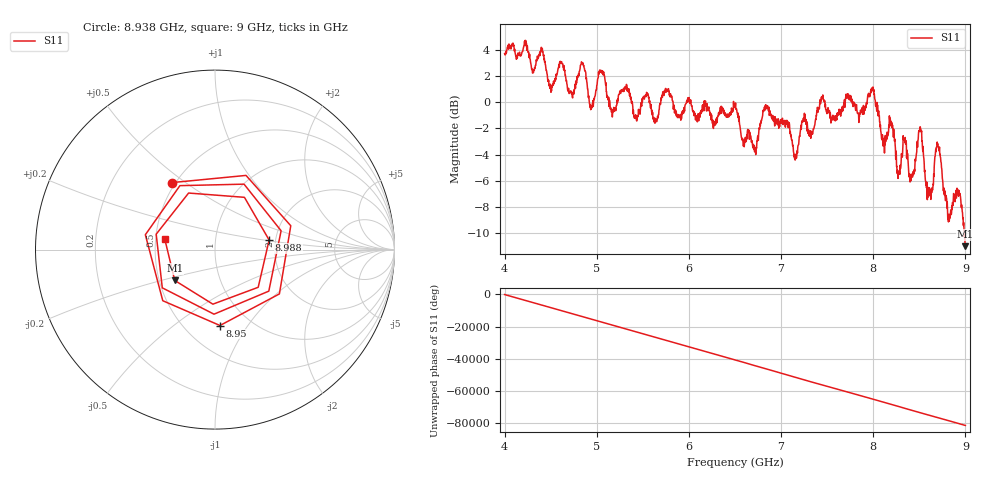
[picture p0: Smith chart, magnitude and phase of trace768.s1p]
! Created with skrf 1.8.0 (http://scikit-rf.org).
# Hz S RI R 50.0
!freq ReS11 ImS11
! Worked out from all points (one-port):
!   1601 points, 4 GHz to 9 GHz, reference 50 ohm
!   lowest |S11| = -11.0 dB at 8.997 GHz (marker M1), VSWR 1.79, Z = 30.1 - j11.2 ohm
!   |S11| at or under -10 dB: 8.986537 GHz to 8.990281 GHz (3.743 MHz wide, 0.0416 % of centre); 8.99162 GHz to end of sweep
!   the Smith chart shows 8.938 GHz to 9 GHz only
!   S11 on the Smith chart (normalised r, x): 8.938 GHz: 0.48, +0.44; 8.95 GHz: 0.73, -0.75; 8.988 GHz: 1.85, +0.22; 9 GHz: 0.56, +0.07
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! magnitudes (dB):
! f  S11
! 4 GHz  3.7
! 4.506 GHz  1.0
! 4.625 GHz  2.9
! 4.725 GHz  0.7
! 4.85 GHz  3.0
! 4.941 GHz  -0.5
! 5.044 GHz  2.5
! 5.169 GHz  -1.1
! 5.25 GHz  0.9
! 5.875 GHz  -1.2
! 6.5 GHz  -0.3
! 6.597 GHz  -2.9
! 6.844 GHz  -0.2
! 7.125 GHz  -3.3
! 7.75 GHz  0.5
! 7.991 GHz  1.0
! 8.109 GHz  -2.9
! 8.375 GHz  -4.2
! 8.425 GHz  -5.7
! 8.509 GHz  -1.9
! 8.603 GHz  -6.9
! 8.7 GHz  -3.2
! 8.825 GHz  -9.1
! 8.938 GHz  -7.1
! 8.95 GHz  -7.5
! 8.988 GHz  -10.3
! 8.997 GHz  -11.0
! 9 GHz  -10.9
